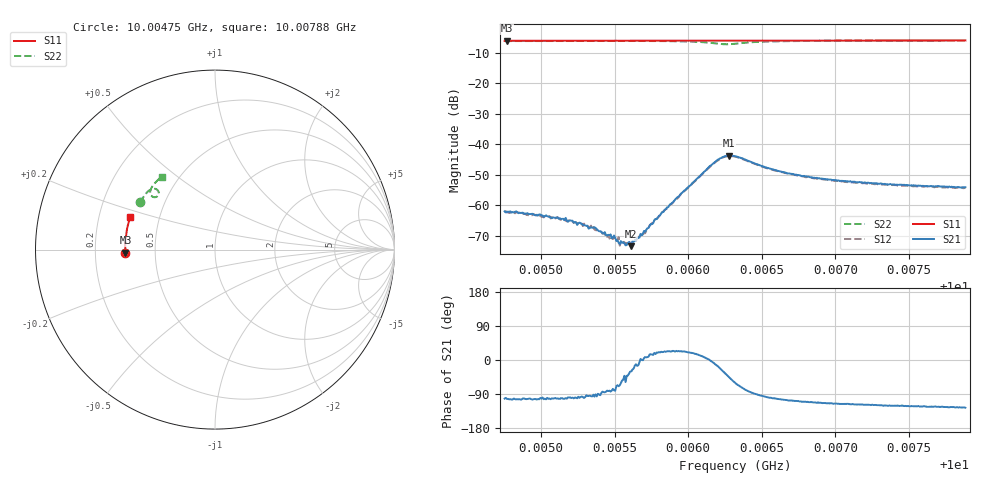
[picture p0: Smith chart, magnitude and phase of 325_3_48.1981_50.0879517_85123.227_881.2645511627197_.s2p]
#  HZ  S  RI  R  50.00
! Rohde & Schwarz Vector Network Analyzer
! Rohde-Schwarz,ZNB20-2Port,1311601062101988,3.16
! Created: UTC 3/20/2024, 11:50:39 AM
! freq[Hz]  re:S11  im:S11  re:S21  im:S21  re:S12  im:S12  re:S22  im:S22
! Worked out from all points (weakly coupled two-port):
!   401 points, 10.00475 GHz to 10.00788 GHz, reference 50 ohm
!   highest |S21| = -43.68 dB at 10.00628 GHz (marker M1); lowest = -73.4 dB at 10.00561 GHz (marker M2)
!   lowest |S11| = -6.0 dB at 10.00477 GHz (marker M3), VSWR 2.99, Z = 16.7 - j0.757 ohm
!   |S11| at or under -10 dB: nowhere
!   |S22| runs from -7.2 to -6.0 dB; largest |S21 - S12| = 0.00039
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1.0004753e10  -0.4987 -0.0181  -0.000163 -0.00078  -0.000171 -0.000758  -0.4176 0.2633
1.0004768e10  -0.4988 -0.017  -0.000174 -0.000759  -0.000119 -0.000758  -0.417 0.2641
1.0005105e10  -0.4998 0.00463  -0.000129 -0.000619  -8.66e-05 -0.000612  -0.4049 0.2841
1.0005277e10  -0.4999 0.0159  -5.46e-05 -0.00049  -2.47e-05 -0.000499  -0.3981 0.2944
1.0005355e10  -0.4998 0.021  -1.21e-05 -0.000432  -1.45e-05 -0.000439  -0.3949 0.2991
1.0005434e10  -0.4998 0.0261  3e-05 -0.000361  7.14e-05 -0.000321  -0.3913 0.3037
1.0005488e10  -0.4997 0.0297  6.98e-05 -0.000286  6.12e-05 -0.000273  -0.3886 0.3072
1.0005512e10  -0.4997 0.0311  9.29e-05 -0.000244  0.000102 -0.000254  -0.3874 0.3087
1.0005527e10  -0.4997 0.0321  8.52e-05 -0.000227  0.000145 -0.000262  -0.3867 0.3096
1.0005567e10  -0.4995 0.0347  0.00018 -0.00016  0.000151 -0.000181  -0.3847 0.3121
1.0005613e10  -0.4995 0.0378  0.000185 -0.000107  0.000217 -6.04e-05  -0.3821 0.315
1.00057e10  -0.4992 0.0434  0.000377 3.18e-05  0.000349 2.34e-06  -0.3771 0.3205
1.0005747e10  -0.499 0.0463  0.00048 0.000126  0.000472 0.000116  -0.374 0.3234
1.0005801e10  -0.4988 0.0499  0.000621 0.00024  0.000607 0.000254  -0.3701 0.3268
1.0006153e10  -0.4963 0.0726  0.00449 -0.000187  0.00441 3.63e-06  -0.3203 0.3316
1.0006224e10  -0.4956 0.0769  0.00542 -0.00253  0.00545 -0.00225  -0.3136 0.3106
1.0006279e10  -0.4951 0.0801  0.00454 -0.00472  0.00465 -0.00437  -0.3249 0.2946
1.0006318e10  -0.4949 0.0824  0.00321 -0.00555  0.00341 -0.00526  -0.3378 0.2916
1.0006584e10  -0.4929 0.0996  -0.000732 -0.00375  -0.000569 -0.00371  -0.36 0.3303
1.0006842e10  -0.4899 0.116  -0.00105 -0.00266  -0.000907 -0.00265  -0.3488 0.3531
1.0007366e10  -0.482 0.1489  -0.00111 -0.00192  -0.00101 -0.00188  -0.323 0.3833
1.0007883e10  -0.4721 0.1806  -0.00116 -0.00161  -0.00105 -0.00162  -0.2968 0.4068
